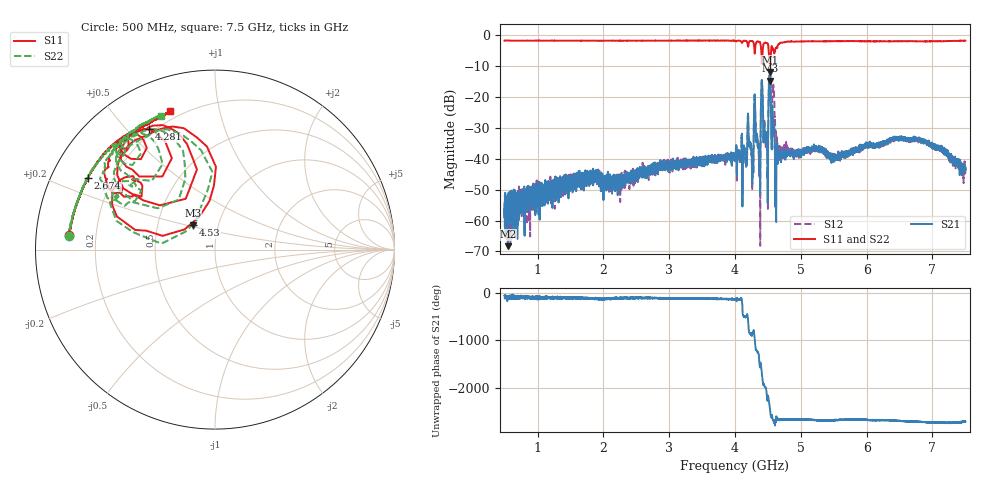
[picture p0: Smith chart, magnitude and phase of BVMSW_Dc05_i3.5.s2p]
!Keysight Technologies,M9374A,MY55442783,A.12.55.05
!Date: Thursday, May 20, 2021 18:56:23
!Correction: S11(Full 2 Port(1,2))
!S21(Full 2 Port(1,2))
!S12(Full 2 Port(1,2))
!S22(Full 2 Port(1,2))
!S2P File: Measurements: S11, S21, S12, S22:
# Hz S  RI  R 50
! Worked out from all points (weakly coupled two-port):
!   7001 points, 500 MHz to 7.5 GHz, reference 50 ohm
!   highest |S21| = -11.99 dB at 4.527 GHz (marker M1); lowest = -68.3 dB at 549 MHz (marker M2)
!   lowest |S11| = -14.8 dB at 4.53 GHz (marker M3), VSWR 1.45, Z = 37.9 + j10.6 ohm
!   |S11| at or under -10 dB: 4.521372 GHz to 4.536679 GHz (15.31 MHz wide, 0.338 % of centre)
!   |S22| runs from -14.4 to -1.7 dB; largest |S21 - S12| = 0.18
!   S11 on the Smith chart (normalised r, x): 500 MHz: 0.10, +0.05; 2.674 GHz: 0.11, +0.26; 4.281 GHz: 0.18, +0.58; 4.53 GHz: 0.76, +0.21; 7.5 GHz: 0.16, +0.72
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5e8  -0.8117 0.0816  0.000833 -0.00124  -0.000574 -0.00151  -0.8129 0.0758
5.49e8  -0.8099 0.0876  5.95e-06 -0.000385  -0.000171 -0.000785  -0.8148 0.0838
1.667e9  -0.7708 0.2546  -0.00163 -0.00378  -0.000888 -0.00418  -0.7764 0.2384
2.674e9  -0.709 0.3978  -0.000191 -0.00571  -0.00322 -0.00681  -0.7215 0.3723
2.834e9  -0.6971 0.419  -0.00364 -0.00672  -0.0047 -0.00713  -0.7114 0.3972
4e9  -0.5438 0.5975  -0.00649 -0.00777  -0.00775 -0.00739  -0.5651 0.5678
4.219e9  -0.5278 0.5882  -0.00947 -0.0137  -0.00861 -0.0142  -0.5477 0.5628
4.248e9  -0.4797 0.6421  -0.0143 -0.00364  -0.0147 -0.00234  -0.5009 0.6174
4.281e9  -0.368 0.6707  0.0022 -0.0102  0.00381 -0.0106  -0.3897 0.6424
4.319e9  -0.5306 0.5352  -0.0106 -0.0174  -0.0097 -0.021  -0.5533 0.4995
4.355e9  -0.4413 0.6511  -0.0165 0.00385  -0.0152 0.00293  -0.462 0.631
4.423e9  -0.5021 0.3312  -0.00183 -0.0827  0.0146 -0.0877  -0.5162 0.3143
4.469e9  -0.432 0.6153  -0.0192 0.00776  -0.0124 0.00787  -0.4483 0.5949
4.527e9  -0.0446 0.2197  -0.1516 0.2005  -0.1508 0.2473  -0.0926 0.2097
4.53e9  -0.1218 0.1357  0.0623 0.224  0.0729 0.2809  -0.1542 0.1227
4.559e9  -0.5434 0.3763  0.0119 -0.0153  -0.0142 -0.00361  -0.5428 0.3612
4.591e9  -0.4075 0.3635  -0.0234 -0.00704  0.1206 -0.0609  -0.4153 0.3346
4.641e9  -0.5384 0.3153  -0.0116 -0.0145  -0.00712 -0.0093  -0.5702 0.2734
5.167e9  -0.5121 0.6074  -0.0117 -0.0065  -0.0117 -0.00728  -0.5557 0.5689
6.334e9  -0.3645 0.709  -0.0181 -0.00719  -0.0184 -0.00813  -0.4301 0.6828
6.871e9  -0.3067 0.7342  -0.018 0.00524  -0.0187 0.00515  -0.3719 0.7132
7.5e9  -0.2504 0.7724  -0.00667 0.00021  -0.00718 0.000516  -0.3033 0.7469
